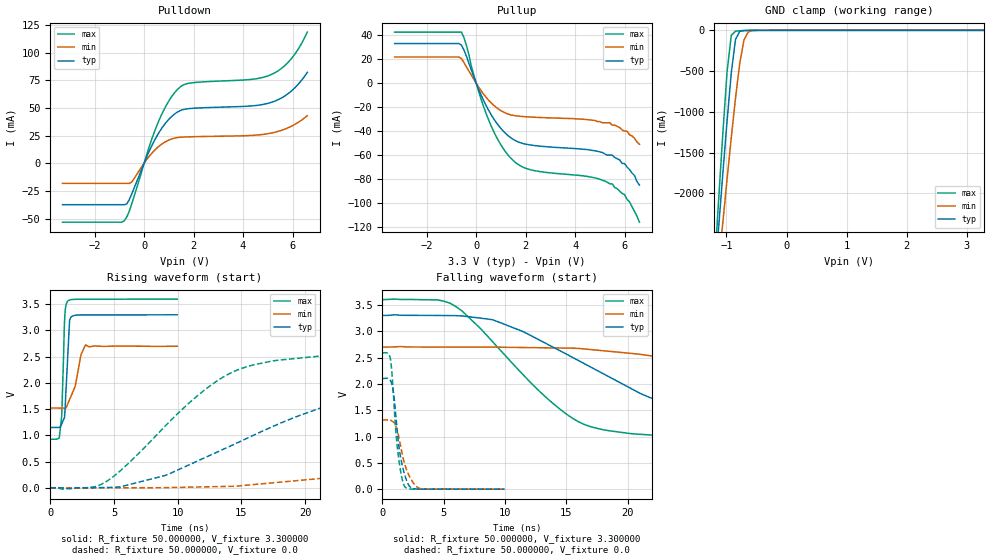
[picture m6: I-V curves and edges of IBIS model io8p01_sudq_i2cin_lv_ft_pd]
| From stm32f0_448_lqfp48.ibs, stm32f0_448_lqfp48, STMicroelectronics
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|   Model io8p01_sudq_i2cin_lv_ft_pd
[Model]  io8p01_sudq_i2cin_lv_ft_pd
Model_type I/O
Polarity   Non-Inverting
Enable   Active-Low
Vinl =   0.990000V
Vinh =   2.310000V
Vmeas =  1.650000V
Cref =   50.000000pF
Rref =   100.000000M
Vref =   0.0V
C_comp   2.070000pF   1.996000pF   2.160200pF
[Temperature Range]   25.000000   0.125000k   -40.000000
[Pullup Reference]   3.300000V   2.700000V   3.600000V
[Pulldown Reference]   0.0V   0.0V   0.0V
[POWER Clamp Reference]   3.300000V   2.700000V   3.600000V
[GND Clamp Reference]   0.0V   0.0V   0.0V
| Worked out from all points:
|   slope of the pulldown table from 0 to 0.495 V, typ, clamps not added: 20.9 ohm
|   slope of the pullup table from 0 to 0.495 V, typ, clamps not added: 22.2 ohm
|   GND clamp passes 1 mA (typ) near -0.64 V on its own axis
|   rising waveform, R_fixture 50.000000, V_fixture 3.300000: 20-80 % time 272ps typ, 710ps min, 191ps max; typ from 1.15 V to 3.3 V
|   rising waveform, R_fixture 50.000000, V_fixture 0.0: 20-80 % time 12.7ns typ, 30.7ns min, 6.96ns max; typ from 0 V to 2.1 V
|   falling waveform, R_fixture 50.000000, V_fixture 3.300000: 20-80 % time 11ns typ, 22.8ns min, 6.87ns max; typ from 3.3 V to 1.15 V
|   falling waveform, R_fixture 50.000000, V_fixture 0.0: 20-80 % time 669ps typ, 882ps min, 549ps max; typ from 2.1 V to 0 V
[Pulldown]
|Voltage   I(typ)   I(min)   I(max)
-3.3V     -37.45mA   -18.2mA    -53.24mA
-800mV    -37.45mA   -18.2mA    -51.9mA
-700mV    -36.7mA    -18.2mA    -48.48mA
-500mV    -27.71mA   -17.01mA   -36.66mA
200mV     10.57mA    6.084mA    14.57mA
500mV     23.91mA    13.38mA    33.24mA
900mV     37.17mA    19.88mA    52.48mA
1.3V      45.55mA    23.01mA    65.5mA
1.8V      49.29mA    23.83mA    72.18mA
5.1V      54.68mA    27.07mA    79.72mA
5.9V      64.2mA     32.82mA    93.01mA
6.6V      82.13mA    42.97mA    118.5mA
[Pullup]
|Voltage   I(typ)   I(min)   I(max)
-3.3V     33.15mA    21.88mA    42.69mA
-600mV    31.87mA    20.58mA    42.69mA
-400mV    22.8mA     13.77mA    31.9mA
100mV     -5.13mA    -3.299mA   -6.952mA
500mV     -22.5mA    -14.16mA   -30.52mA
900mV     -35.28mA   -21.55mA   -48mA
1.4V      -45.54mA   -26.4mA    -62.54mA
2.2V      -51.57mA   -28.22mA   -72.25mA
4.6V      -55.8mA    -30.6mA    -78.18mA
5.5V      -60mA      -35mA      -84mA
6V        -67mA      -40mA      -93mA
6.6V      -85mA      -51mA      -116mA
[GND_clamp]
|Voltage   I(typ)   I(min)   I(max)
-3.3V     -9.366A    -9.678A    -9.859A
-1.2V     -3.091A    -3.431A    -2.911A
-1.13V    -2.415A    -2.888A    -2.072A
-1.06V    -1.751A    -2.352A    -1.259A
-990mV    -1.112A    -1.826A    -509.3mA
-920mV    -522.9mA   -1.315A    -61.63mA
-850mV    -112.6mA   -833.9mA   -10.23mA
-780mV    -13.61mA   -408.1mA   -5.273mA
-710mV    -3.095mA   -122.1mA   -2.651mA
-640mV    -959.2uA   -21.37mA   -921.5uA
-570mV    -212.9uA   -4.153mA   -172uA
3.28V     83.63uA    63.62uA    93.37uA
[POWER_clamp]
|Voltage   I(typ)   I(min)   I(max)
-3.28V    0A         0A         0A
0V        0A         0A         0A
[Ramp]
| variable   typ   min   max
dV/dt_r  1.26144/12.63190n   0.78864/30.65469n   1.55376/6.94839n
dV/dt_f  1.28928/10.98369n   0.70662/22.76969n   1.60432/6.85767n
R_load = 50.000000
[Rising Waveform]
R_fixture= 50.000000
V_fixture= 3.300000
V_fixture_min= 2.700000
V_fixture_max= 3.600000
|time   V(typ)   V(min)   V(max)
0s        1.15V      1.52V      925.1mV
720.7ps   1.152V     1.52V      977.6mV
900.9ps   1.22V      1.519V     1.38V
1.121ns   1.345V     1.52V      3.179V
1.201ns   1.701V     1.52V      3.438V
1.361ns   2.459V     1.593V     3.558V
1.522ns   3.204V     1.685V     3.581V
2.422ns   3.297V     2.547V     3.594V
2.783ns   3.297V     2.724V     3.595V
9.97ns    3.299V     2.699V     3.599V
[Rising Waveform]
R_fixture= 50.000000
V_fixture= 0.0
V_fixture_min= 0.0
V_fixture_max= 0.0
|time   V(typ)   V(min)   V(max)
0s        1.621nV    10.89nV    2.151nV
4.505ns   5.511mV    6.201uV    133.7mV
9.009ns   233.4mV    1.74mV     1.174V
14.01ns   781.6mV    25.89mV    2.171V
21.52ns   1.547V     183.3mV    2.516V
27.03ns   1.865V     313.2mV    2.56V
33.53ns   2.007V     513.8mV    2.579V
51.55ns   2.093V     981.4mV    2.591V
68.57ns   2.1V       1.198V     2.59V
249.2ns   2.102V     1.315V     2.59V
[Falling Waveform]
R_fixture= 50.000000
V_fixture= 3.300000
V_fixture_min= 2.700000
V_fixture_max= 3.600000
|time   V(typ)   V(min)   V(max)
0s        3.299V     2.699V     3.599V
4.505ns   3.298V     2.699V     3.594V
6.006ns   3.295V     2.699V     3.465V
9.009ns   3.216V     2.697V     2.793V
13.01ns   2.805V     2.685V     1.813V
16.02ns   2.438V     2.672V     1.276V
24.52ns   1.501V     2.44V      989.6mV
41.54ns   1.206V     1.846V     934.9mV
65.57ns   1.159V     1.6V       925.3mV
249.2ns   1.15V      1.52V      925.1mV
[Falling Waveform]
R_fixture= 50.000000
V_fixture= 0.0
V_fixture_min= 0.0
V_fixture_max= 0.0
|time   V(typ)   V(min)   V(max)
0s        2.102V     1.315V     2.59V
660.7ps   2.061V     1.314V     2.465V
900.9ps   1.842V     1.272V     1.806V
1.081ns   1.439V     1.204V     1.139V
1.221ns   1.085V     1.113V     789.1mV
1.562ns   516.8mV    732.2mV    247.1mV
1.862ns   241.1mV    448.9mV    37.76mV
2.322ns   28.13mV    193.2mV    2.91mV
3.083ns   1.42mV     12.15mV    413.8uV
9.97ns    1.621nV    10.89nV    2.151nV
